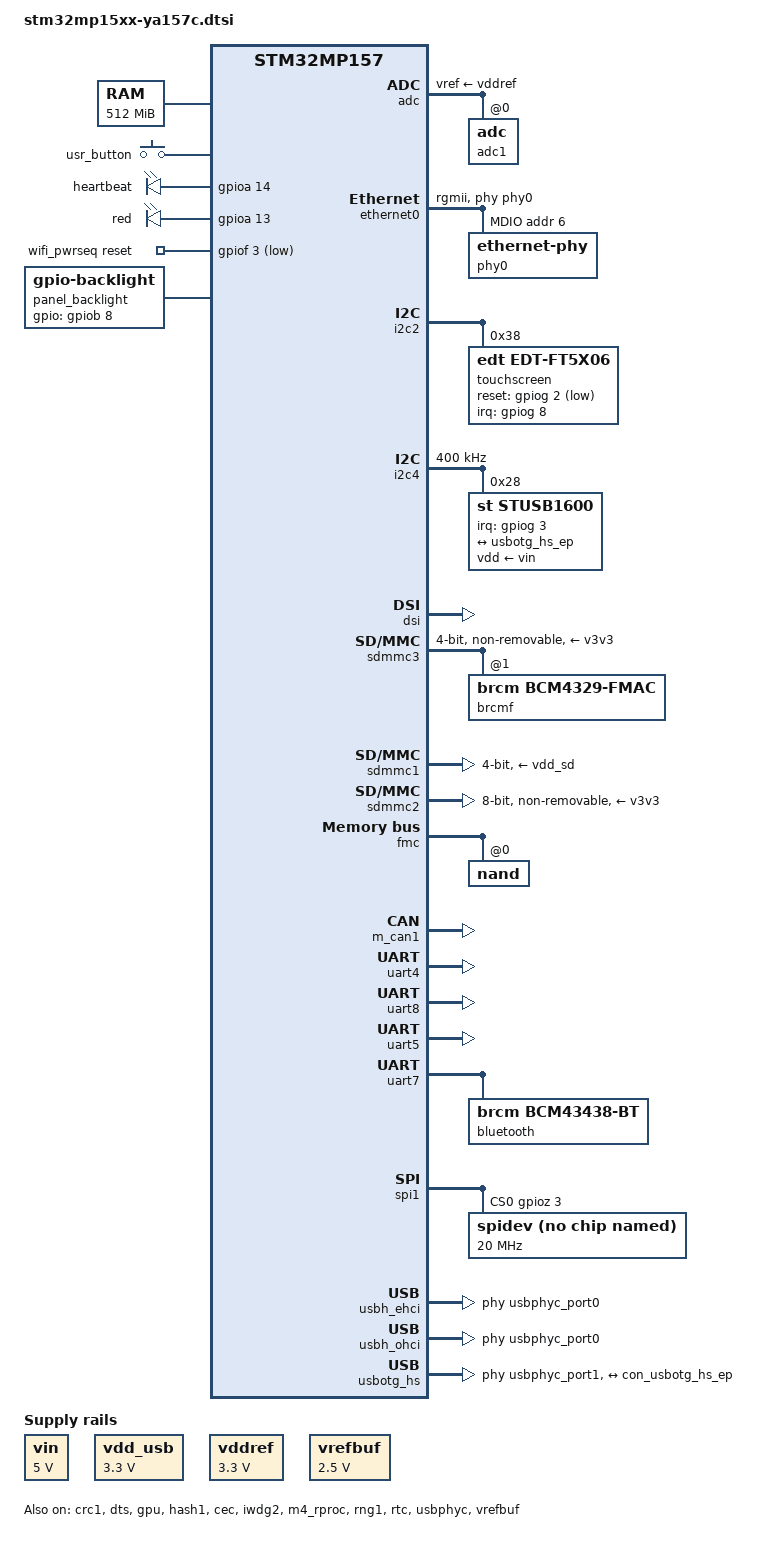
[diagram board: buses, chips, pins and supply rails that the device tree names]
// SPDX-License-Identifier: (GPL-2.0+ OR BSD-3-Clause)
/*
 * Copyright (C) STMicroelectronics 2019 - All Rights Reserved
 * Author: Alexandre Torgue <alexandre.torgue@st.com> for STMicroelectronics.
 */

#include "stm32mp157-m4-srm.dtsi"
#include "stm32mp157-m4-srm-pinctrl.dtsi"
#include <dt-bindings/mfd/st,stpmic1.h>
#include <dt-bindings/input/input.h>


/ {
	memory@c0000000 {
		device_type = "memory";
		reg = <0xc0000000 0x20000000>;
	};

	reserved-memory {
		#address-cells = <1>;
		#size-cells = <1>;
		ranges;

		mcuram2: mcuram2@10000000 {
			compatible = "shared-dma-pool";
			reg = <0x10000000 0x40000>;
			no-map;
		};

		vdev0vring0: vdev0vring0@10040000 {
			compatible = "shared-dma-pool";
			reg = <0x10040000 0x1000>;
			no-map;
		};

		vdev0vring1: vdev0vring1@10041000 {
			compatible = "shared-dma-pool";
			reg = <0x10041000 0x1000>;
			no-map;
		};

		vdev0buffer: vdev0buffer@10042000 {
			compatible = "shared-dma-pool";
			reg = <0x10042000 0x4000>;
			no-map;
		};

		mcuram: mcuram@30000000 {
			compatible = "shared-dma-pool";
			reg = <0x30000000 0x40000>;
			no-map;
		};

		retram: retram@38000000 {
			compatible = "shared-dma-pool";
			reg = <0x38000000 0x10000>;
			no-map;
		};
	};


	joystick {
	        compatible = "gpio-keys";
        	#size-cells = <0>;
        	button-0 {
               		 label = "usr_button";
               		 linux,code = <KEY_ENTER>;
                	interrupt-parent = <&gpioi>;
                	interrupts = <11 IRQ_TYPE_EDGE_RISING>;
        	};
	};


	led {
        	compatible = "gpio-leds";
        	blue {
        		label = "heartbeat";
        		gpios = <&gpioa 14 GPIO_ACTIVE_HIGH>;
        		linux,default-trigger = "heartbeat";
        		default-state = "off";
        	};
            red {
                label = "red";
                gpios = <&gpioa 13 GPIO_ACTIVE_HIGH>;
                linux,default-trigger = "none";
                status = "okay";
            };

	};

	wifi_pwrseq: wifi-pwrseq {
		compatible = "mmc-pwrseq-simple";
		reset-gpios = <&gpiof 3 GPIO_ACTIVE_LOW>;
	};

	
	panel_backlight: panel-backlight {
		compatible = "gpio-backlight";
		gpios = <&gpiob 8 GPIO_ACTIVE_HIGH>;
		default-on;	
		status = "okay";
	};
	
	/*
	panel_backlight: panel-backlight {
		compatible = "pwm-backlight";
		pwms = <&pwm4 0 5000000>;
		brightness-levels = <0 4 8 16 32 64 128 255>;
		default-brightness-level = <6>;
		status = "okay";
	};
	*/

	usb_phy_tuning: usb-phy-tuning {
		st,hs-dc-level = <2>;
		st,fs-rftime-tuning;
		st,hs-rftime-reduction;
		st,hs-current-trim = <15>;
		st,hs-impedance-trim = <1>;
		st,squelch-level = <3>;
		st,hs-rx-offset = <2>;
		st,no-lsfs-sc;
	};

	vin: vin {
		compatible = "regulator-fixed";
		regulator-name = "vin";
		regulator-min-microvolt = <5000000>;
		regulator-max-microvolt = <5000000>;
		regulator-always-on;
	};
	vdd_usb: fixedregulator@3 {
         	compatible = "regulator-fixed";
         	regulator-name = "vdd_usb";
         	regulator-min-microvolt = <3300000>;
         	regulator-max-microvolt = <3300000>;
   		startup-delay-us = <70000>;
   		regulator-boot-on;
   		regulator-pull-down; 
    	};
	vddref: fixedregulator@2 {
                compatible = "regulator-fixed";
                regulator-name = "vddref";
                regulator-min-microvolt = <3300000>;
                regulator-max-microvolt = <3300000>;
                startup-delay-us = <70000>;
                 enable-active-high;
    	};

};

/*myir pin header
 *ANA0  ANA1 
 *PF13(ADC2_INP2) PF11(ADC1_INP2) 
 *PF14(ADC2_INP6 or ADC2_INN2) 
 *PF12(ADC1_INP6 or ADC1_INN2)
 *
 */
&adc {
        pinctrl-names = "default";
        pinctrl-0 = <&adc1_in6_pins_a>;
        vdd-supply = <&vddref>;
        vdda-supply = <&vddref>;
        vref-supply = <&vddref>;
        status = "okay";
        adc1: adc@0 {
                st,min-sample-time-nsecs = <10000>;
                st,adc-channels = <6>;
                status = "okay";
        };

        adc2: adc@100 {
                status = "disable";
        };
        adc_temp: temp {
                status = "okay";
        };
};

&cpu0{
	cpu-supply = <&vddcore>;
};

&cpu1{
	cpu-supply = <&vddcore>;
};

&crc1 {
	status = "okay";
};

&dma1 {
	sram = <&dma_pool>;
};

&dma2 {
	sram = <&dma_pool>;
};

&dts {
	status = "okay";
};

/*g ethernet*/
&ethernet0 {
	status = "okay";
	pinctrl-0 = <&ethernet0_rgmii_pins_a>;
	pinctrl-1 = <&ethernet0_rgmii_pins_sleep_a>;
	pinctrl-names = "default", "sleep";
	phy-mode = "rgmii";
	max-speed = <1000>;
	phy-handle = <&phy0>;

	mdio0 {
		#address-cells = <1>;
		#size-cells = <0>;
		compatible = "snps,dwmac-mdio";
		phy0: ethernet-phy@6 {
            		reg = <6>; 
		};
	};
};

&gpu {
	contiguous-area = <&gpu_reserved>;
	status = "okay";
};

&hash1 {
	status = "okay";
};

&cec {
	pinctrl-names = "default", "sleep";
	pinctrl-0 = <&cec_pins_a>;
	pinctrl-1 = <&cec_pins_sleep_a>;
	status = "okay";
};


&i2c2 {
	pinctrl-names = "default", "sleep";
        pinctrl-0 = <&i2c2_pins_a>;
        pinctrl-1 = <&i2c2_pins_sleep_a>;
        i2c-scl-rising-time-ns = <100>;
        i2c-scl-falling-time-ns = <7>;
        status = "okay";
        /delete-property/dmas;
        /delete-property/dma-names;
	//clock-frequency = <100000>;
	
	touchscreen@38 {
              compatible ="edt,edt-ft5x06";
              reg = <0x38>;

              interrupts = <8  IRQ_TYPE_EDGE_FALLING>;
              interrupt-parent = <&gpiog>;
              interrupt-controller;
              touchscreen-size-x = <800>;
              touchscreen-size-y = <480>;

              reset-gpios = <&gpiog 2 GPIO_ACTIVE_LOW>;
              status = "okay";
      };
	
};

&i2c4 {
	pinctrl-names = "default", "sleep";
	pinctrl-0 = <&i2c4_pins_a>;
	pinctrl-1 = <&i2c4_pins_sleep_a>;
	i2c-scl-rising-time-ns = <185>;
	i2c-scl-falling-time-ns = <20>;
	clock-frequency = <400000>;
	status = "okay";
	/* spare dmas for other usage */
	/delete-property/dmas;
	/delete-property/dma-names;

	stusb1600@28 {
		compatible = "st,stusb1600";
		reg = <0x28>;
		interrupts = <3 IRQ_TYPE_EDGE_FALLING>;
		interrupt-parent = <&gpiog>;
		pinctrl-names = "default";
		pinctrl-0 = <&stusb1600_pins_a>;
		status = "okay";
		vdd-supply = <&vin>;

		connector {
			compatible = "usb-c-connector";
			label = "USB-C";
			power-role = "dual";
			power-opmode = "default";

			port {
				con_usbotg_hs_ep: endpoint {
					remote-endpoint = <&usbotg_hs_ep>;
				};
			};
		};
	};
};


&ipcc {
	status = "okay";
};

/*watch dog*/
&iwdg2 {
	timeout-sec = <32>;
	status = "okay";
};

/*mipi dsi*/
&dsi {
	#address-cells = <1>;
	#size-cells = <0>;
	status = "okay";

};

&m4_rproc {
	memory-region = <&retram>, <&mcuram>, <&mcuram2>, <&vdev0vring0>,
			<&vdev0vring1>, <&vdev0buffer>;
	mboxes = <&ipcc 0>, <&ipcc 1>, <&ipcc 2>;
	mbox-names = "vq0", "vq1", "shutdown";
	interrupt-parent = <&exti>;
	interrupts = <68 1>;
	wakeup-source;
	status = "okay";
};

/*
&pwr_regulators {
	vdd-supply = <&vdd>;
	//vdd_3v3_usbfs-supply = <&vdd_usb>;
};
*/

&rng1 {
	status = "okay";
};

/*rtc*/
&rtc {
	status = "okay";
};

/* Wifi */
&sdmmc3 {
     arm,primecell-periphid = <0x10153180>;
     pinctrl-names = "default", "opendrain", "sleep";
     pinctrl-0 = <&sdmmc3_b4_pins_a>;
     pinctrl-1 = <&sdmmc3_b4_od_pins_a>;
     pinctrl-2 = <&sdmmc3_b4_sleep_pins_a>;
     non-removable;
     st,neg-edge;
     bus-width = <4>;
     vmmc-supply = <&v3v3>;
     mmc-pwrseq = <&wifi_pwrseq>;
     #address-cells = <1>;
     #size-cells = <0>;
     keep-power-in-suspend;
     status = "okay";
 
     brcmf: bcrmf@1 {
         reg = <1>;
         compatible = "brcm,bcm4329-fmac";
     };
};


/*SD card*/
&sdmmc1 {
     pinctrl-names = "default", "opendrain", "sleep";
     pinctrl-0 = <&sdmmc1_b4_pins_a>;
     pinctrl-1 = <&sdmmc1_b4_od_pins_a>;
     pinctrl-2 = <&sdmmc1_b4_sleep_pins_a>;
     broken-cd;
     st,neg-edge;
     bus-width = <4>;
     vmmc-supply = <&vdd_sd>;
     status = "okay";
};

/*emmc*/
&sdmmc2 {
	pinctrl-names = "default", "opendrain", "sleep";
	pinctrl-0 = <&sdmmc2_b4_pins_a &sdmmc2_d47_pins_a>;
	pinctrl-1 = <&sdmmc2_b4_od_pins_a &sdmmc2_d47_pins_a>;
	pinctrl-2 = <&sdmmc2_b4_sleep_pins_a &sdmmc2_d47_sleep_pins_a>;
	non-removable;
	no-sd;
	no-sdio;
	st,neg-edge;
	bus-width = <8>;
	vmmc-supply = <&v3v3>;
	vqmmc-supply = <&vdd>;
	mmc-ddr-3_3v;
	status = "okay";
};

/*nand*/
&fmc {
    pinctrl-names = "default", "sleep";
    pinctrl-0 = <&fmc_pins_a>;
    pinctrl-1 = <&fmc_sleep_pins_a>;
    status = "okay";
    #address-cells = <1>;
    #size-cells = <0>;
                             
    nand: nand@0 {
          reg = <0>;
          nand-on-flash-bbt;
          #address-cells = <1>;
          #size-cells = <1>;
          nand-ecc-strength = <4>;
          nand-ecc-step-size = <512>;
    };                                                                                                                                                                                                 
};

/*can*/
&m_can1 {
	//pinctrl-names = "default", "sleep";
	pinctrl-names = "default";
	pinctrl-0 = <&m_can1_pins_a_myir>;
	//pinctrl-1 = <&m_can1_sleep_pins_a_myir>;
	status = "okay";

	can-transceiver {
		max-bitrate = <5000000>;
	};
};

/*DEBUG*/
&uart4 {
	pinctrl-names = "default", "sleep", "idle";
	pinctrl-0 = <&uart4_pins_a>;
	pinctrl-1 = <&uart4_sleep_pins_a>;
	pinctrl-2 = <&uart4_idle_pins_a>;
	pinctrl-3 = <&uart4_pins_a>;
	/delete-property/dmas;
	/delete-property/dma-names;
	status = "okay";
};

/*rs232*/
&uart8 {
	pinctrl-names = "default", "sleep";
	pinctrl-0 = <&uart8_pins_mx>;
	pinctrl-1 = <&uart8_sleep_pins_mx>;
	status = "okay";
};

/*rs485*/
&uart5 {
       pinctrl-names = "default", "sleep";
        pinctrl-0 = <&uart5_pins_a>;
        pinctrl-1 = <&uart5_sleep_pins_a>;

        status = "okay";
};


/* Bluetooth */
&uart7 {
	pinctrl-names = "default", "sleep", "idle";
	pinctrl-0 = <&uart7_pins_myir>;
	pinctrl-1 = <&uart7_sleep_pins_myir>;
	pinctrl-2 = <&uart7_idle_pins_myir>;
	uart-has-rtscts;
	status = "okay";

	bluetooth {
		pinctrl-names = "default";
		pinctrl-0 = <&btreg0>;
		compatible = "brcm,bcm43438-bt";
		max-speed = <3000000>;
	};

};

/*SPI1 for A7 core*/
&spi1 {
	pinctrl-names = "default", "sleep";
        pinctrl-0 = <&spi1_pins_a>;
        pinctrl-1 = <&spi1_sleep_pins_a>;
	    cs-gpios = <&gpioz 3 0>;
        status = "okay";
	spidev@0 {     
       		 compatible = "spidev";
        	spi-max-frequency = <20000000>;
        	reg = <0>;
    };

};


/*SPI1 for M4 core*/
/*
&m4_spi1 {
   pinctrl-names = "rproc_default";
   pinctrl-0 = <&m4_spi1_pins_z_mx>;
   status = "okay";

};
*/

&sram {
	dma_pool: dma_pool@0 {
		reg = <0x50000 0x10000>;
		pool;
	};
};

&timers1 {
	/* spare dmas for other usage */
	/delete-property/dmas;
	/delete-property/dma-names;
	status = "disabled";
	pwm {
		pinctrl-0 = <&pwm1_pins_a>;
		pinctrl-1 = <&pwm1_sleep_pins_a>;
		pinctrl-names = "default", "sleep";
		status = "okay";
	};
	timer@0 {
		status = "okay";
	};
};

&timers3 {
	/delete-property/dmas;
	/delete-property/dma-names;
	status = "disabled";
	pwm {
		pinctrl-0 = <&pwm3_pins_a>;
		pinctrl-1 = <&pwm3_sleep_pins_a>;
		pinctrl-names = "default", "sleep";
		status = "okay";
	};
	timer@2 {
		status = "okay";
	};
};

/*pwm */
/*
&timers4{
	status = "okay";
	pwm4:pwm{
		pinctrl-names = "default", "sleep";
		pinctrl-0 = <&tim4_pwm_pins_mx>;
		pinctrl-1 = <&tim4_pwm_sleep_pins_mx>;
		status = "okay";
	};
};*/

&timers5 {
	/delete-property/dmas;
	/delete-property/dma-names;
	status = "disabled";
	pwm {
		pinctrl-0 = <&pwm5_pins_a>;
		pinctrl-1 = <&pwm5_sleep_pins_a>;
		pinctrl-names = "default", "sleep";
		status = "okay";
	};
	timer@4 {
		status = "okay";
	};
};

&timers6 {
	/delete-property/dmas;
	/delete-property/dma-names;
	status = "disabled";
	timer@5 {
		status = "okay";
	};
};

&timers12 {
	/delete-property/dmas;
	/delete-property/dma-names;
	status = "disabled";
	pwm {
		pinctrl-0 = <&pwm12_pins_a>;
		pinctrl-1 = <&pwm12_sleep_pins_a>;
		pinctrl-names = "default", "sleep";
		status = "okay";
	};
	timer@11 {
		status = "okay";
	};
};


/*usb host*/
&usbh_ehci {
	phys = <&usbphyc_port0>;
	phy-names = "usb";
	status = "okay";
};

/*USB*/
&usbh_ohci {
   phys = <&usbphyc_port0>; 
   phy-names = "usb";
   status = "okay";
};

/*otg*/
&usbotg_hs {
	phys = <&usbphyc_port1 0>;
	phy-names = "usb2-phy";
	usb-role-switch;
	status = "okay";

	port {
		usbotg_hs_ep: endpoint {
			remote-endpoint = <&con_usbotg_hs_ep>;
		};
	};
};

&usbphyc {
	status = "okay";
	
};

&usbphyc_port0 {
	phy-supply = <&vdd_usb>;
	st,phy-tuning = <&usb_phy_tuning>;
};

&usbphyc_port1 {
	phy-supply = <&vdd_usb>;
	st,phy-tuning = <&usb_phy_tuning>;
};

&vrefbuf {
	regulator-min-microvolt = <2500000>;
	regulator-max-microvolt = <2500000>;
	vdda-supply = <&vdd>;
	status = "okay";
};
